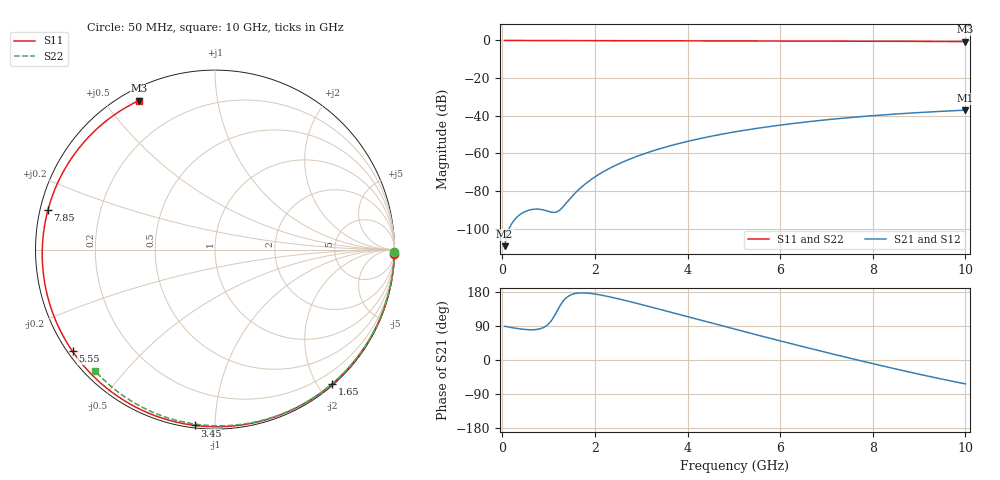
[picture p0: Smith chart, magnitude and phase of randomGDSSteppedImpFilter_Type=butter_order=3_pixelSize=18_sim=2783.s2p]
! freq	dB(S11)	phase(S11)	dB(S12)	phase(S12)
!  dB(S21)	phase(S21)	dB(S22)	phase(S22)
!S-par simulation data
#  GHz  S  DB  R 50
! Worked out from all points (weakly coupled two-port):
!   200 points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, 50 MHz to 10 GHz, reference 50 ohm
!   highest |S21| = -37.01 dB at 10 GHz (marker M1); lowest = -109.2 dB at 50 MHz (marker M2)
!   lowest |S11| = -0.6 dB at 10 GHz (marker M3), VSWR 28.48, Z = 2.41 + j30.5 ohm
!   |S11| at or under -10 dB: nowhere
!   |S22| runs from -0.4 to 0.0 dB; largest |S21 - S12| = 0
!   S11 on the Smith chart (normalised r, x): 50 MHz: 0, -75; 1.65 GHz: 0.02, -2.20; 3.45 GHz: 0.01, -0.89; 5.55 GHz: 0.01, -0.32; 7.85 GHz: 0.02, +0.12; 10 GHz: 0.05, +0.61
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0.05  -0.00 -1.5  -109.24 89.0  -109.24 89.0  -0.00 -0.8
0.4  -0.02 -12.2  -92.14 81.8  -92.14 81.8  -0.01 -6.2
0.8  -0.03 -24.2  -89.63 81.8  -89.63 81.8  -0.02 -12.3
1.2  -0.05 -36.0  -90.76 133.0  -90.76 133.0  -0.02 -18.4
1.6  -0.06 -47.5  -80.37 176.0  -80.37 176.0  -0.03 -24.4
1.65  -0.06 -49.0  -79.19 176.8  -79.19 176.8  -0.03 -25.2
1.75  -0.06 -51.8  -77.02 177.1  -77.02 177.1  -0.03 -26.7
2.05  -0.08 -60.1  -71.66 173.1  -71.66 173.1  -0.04 -31.1
2.45  -0.09 -71.0  -66.27 163.1  -66.27 163.1  -0.05 -37.0
2.9  -0.10 -82.8  -61.61 149.6  -61.61 149.6  -0.06 -43.6
3.4  -0.12 -95.3  -57.51 133.7  -57.51 133.7  -0.07 -50.7
3.45  -0.12 -96.6  -57.15 132.1  -57.15 132.1  -0.07 -51.4
4.2  -0.15 -114.4  -52.47 107.8  -52.47 107.8  -0.09 -61.9
5.05  -0.19 -133.6  -48.43 80.4  -48.43 80.4  -0.11 -73.4
5.55  -0.22 -144.4  -46.49 64.6  -46.49 64.6  -0.13 -80.0
6.15  -0.25 -157.2  -44.48 45.8  -44.48 45.8  -0.15 -87.7
6.7  -0.29 -168.8  -42.90 28.9  -42.90 28.9  -0.18 -94.7
7.3  -0.34 178.5  -41.41 10.9  -41.41 10.9  -0.22 -102.1
7.85  -0.39 166.7  -40.24 -5.3  -40.24 -5.3  -0.25 -108.8
8.35  -0.43 155.8  -39.31 -19.6  -39.31 -19.6  -0.29 -114.8
9.15  -0.51 137.6  -38.07 -41.5  -38.07 -41.5  -0.36 -124.4
10  -0.61 117.1  -37.01 -63.0  -37.01 -63.0  -0.45 -134.8
